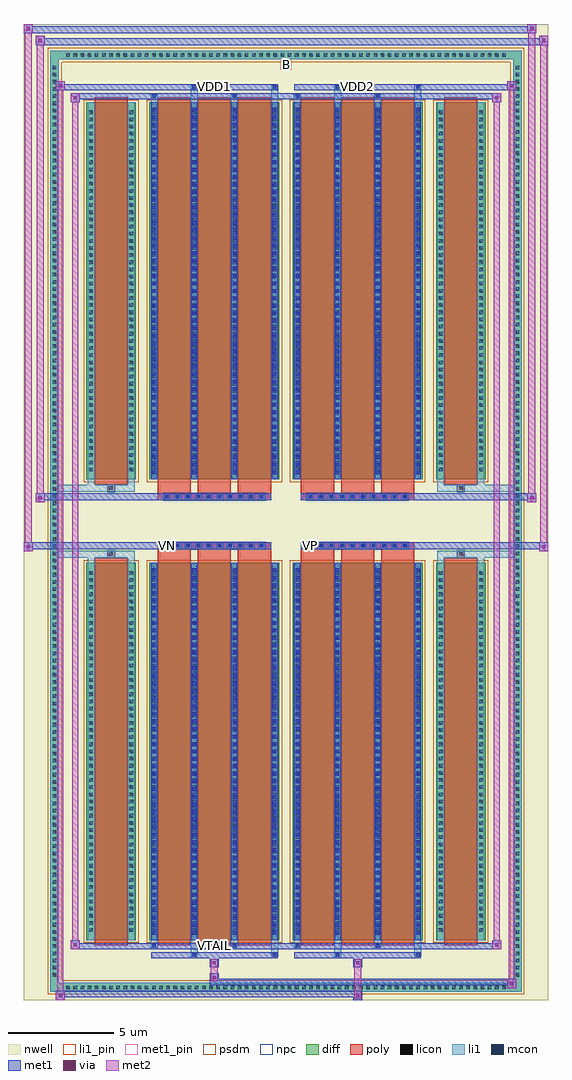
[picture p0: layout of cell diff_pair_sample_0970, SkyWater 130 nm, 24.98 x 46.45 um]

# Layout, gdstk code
import gdstk
lib = gdstk.Library(unit=1e-6, precision=5e-09)
def R(c, l, rs):  # rectangles x0, y0, x1, y1
    for r in rs: c.add(gdstk.rectangle(r[:2], r[2:], *l))
def A(c, l, x, y, w, h, nx, ny, dx, dy):  # array of equal rectangles
    R(c, l, [(x+i*dx, y+j*dy, x+i*dx+w, y+j*dy+h) for i in range(nx) for j in range(ny)])
def P(c, l, *ps):  # polygons
    for p in ps: c.add(gdstk.Polygon(p, *l))
nwell = (64, 20)
diff = (65, 20)
poly = (66, 20)
licon = (66, 44)
li1_pin = (67, 16)
li1 = (67, 20)
mcon = (67, 44)
met1_pin = (68, 16)
met1 = (68, 20)
via = (68, 44)
met2 = (69, 20)
psdm = (94, 20)
npc = (95, 20)

diff_pair_sample_0970 = lib.new_cell('diff_pair_sample_0970')
R(diff_pair_sample_0970, nwell, [(-12.49,-22.79,12.49,23.66), (-9.81,-20.98,-0.01,-0.8), (0.01,-20.98,9.81,-0.8), (-9.81,0.8,-0.01,20.98), (0.01,0.8,9.81,20.98)])
A(diff_pair_sample_0970, diff, -10.575, -22.39, 0.41, 0.41, 62, 2, 0.34, 44.37)
A(diff_pair_sample_0970, diff, -11.22, -21.795, 0.41, 0.41, 1, 128, 0, 0.34)
A(diff_pair_sample_0970, diff, 10.81, -21.795, 0.41, 0.41, 1, 128, 0, 0.34)
R(diff_pair_sample_0970, diff, [(-10.575,-22.39,10.575,-21.98), (-11.22,-21.795,-10.81,21.795), (10.81,-21.795,11.22,21.795), (-9.5,-19.935,-7.14,-1.985), (-6.5,-19.935,-0.32,-1.985), (0.32,-19.935,6.5,-1.985), (7.14,-19.935,9.5,-1.985), (-9.5,1.985,-7.14,19.935), (-6.5,1.985,-0.32,19.935), (0.32,1.985,6.5,19.935), (7.14,1.985,9.5,19.935), (-10.575,21.98,10.575,22.39)])
P(diff_pair_sample_0970, diff, [(11.22,22.39),(-11.22,22.39),(-11.22,-21.98),(-10.81,-21.98),(-10.81,21.98),(10.81,21.98),(10.81,-21.98),(-10.81,-21.98),(-11.22,-21.98),(-11.22,-22.39),(11.22,-22.39)])
A(diff_pair_sample_0970, poly, -6.11, -20.185, 1.58, 18.45, 3, 2, 1.91, 21.92)
A(diff_pair_sample_0970, poly, 0.71, -20.185, 1.58, 18.45, 3, 2, 1.91, 21.92)
A(diff_pair_sample_0970, poly, -6.11, -1.735, 1.58, 0.405, 3, 2, 1.91, 3.065)
A(diff_pair_sample_0970, poly, 0.71, -1.735, 1.58, 0.405, 3, 2, 1.91, 3.065)
A(diff_pair_sample_0970, poly, -5.825, -1.33, 0.33, 0.33, 10, 2, 0.5, 2.33)
A(diff_pair_sample_0970, poly, 0.995, -1.33, 0.33, 0.33, 10, 2, 0.5, 2.33)
R(diff_pair_sample_0970, poly, [(-9.11,-20.185,-7.53,-1.735), (7.53,-20.185,9.11,-1.735), (-8.485,-1.735,-8.155,-1.405), (-8.485,-1.735,-8.155,-1.405), (8.155,-1.735,8.485,-1.405), (8.155,-1.735,8.485,-1.405), (-6.11,-1.33,-0.71,-1), (0.71,-1.33,6.11,-1), (-6.11,1,-0.71,1.33), (0.71,1,6.11,1.33), (-8.485,1.405,-8.155,1.735), (-8.485,1.405,-8.155,1.735), (8.155,1.405,8.485,1.735), (8.155,1.405,8.485,1.735), (-9.11,1.735,-7.53,20.185), (7.53,1.735,9.11,20.185)])
A(diff_pair_sample_0970, licon, -10.455, -22.27, 0.17, 0.17, 62, 2, 0.34, 44.37)
A(diff_pair_sample_0970, licon, -11.1, -21.675, 0.17, 0.17, 1, 128, 0, 0.34)
A(diff_pair_sample_0970, licon, 10.93, -21.675, 0.17, 0.17, 1, 128, 0, 0.34)
A(diff_pair_sample_0970, licon, -9.36, -19.545, 0.17, 0.17, 1, 51, 0, 0.34)
A(diff_pair_sample_0970, licon, -7.45, -19.545, 0.17, 0.17, 1, 51, 0, 0.34)
A(diff_pair_sample_0970, licon, -6.36, -19.545, 0.17, 0.17, 4, 51, 1.91, 0.34)
A(diff_pair_sample_0970, licon, 0.46, -19.545, 0.17, 0.17, 4, 51, 1.91, 0.34)
A(diff_pair_sample_0970, licon, 7.28, -19.545, 0.17, 0.17, 1, 51, 0, 0.34)
A(diff_pair_sample_0970, licon, 9.19, -19.545, 0.17, 0.17, 1, 51, 0, 0.34)
A(diff_pair_sample_0970, licon, -5.745, -1.25, 0.17, 0.17, 10, 2, 0.5, 2.33)
A(diff_pair_sample_0970, licon, 1.075, -1.25, 0.17, 0.17, 10, 2, 0.5, 2.33)
A(diff_pair_sample_0970, licon, -9.36, 2.375, 0.17, 0.17, 1, 51, 0, 0.34)
A(diff_pair_sample_0970, licon, -7.45, 2.375, 0.17, 0.17, 1, 51, 0, 0.34)
A(diff_pair_sample_0970, licon, -6.36, 2.375, 0.17, 0.17, 4, 51, 1.91, 0.34)
A(diff_pair_sample_0970, licon, 0.46, 2.375, 0.17, 0.17, 4, 51, 1.91, 0.34)
A(diff_pair_sample_0970, licon, 7.28, 2.375, 0.17, 0.17, 1, 51, 0, 0.34)
A(diff_pair_sample_0970, licon, 9.19, 2.375, 0.17, 0.17, 1, 51, 0, 0.34)
R(diff_pair_sample_0970, licon, [(-8.405,-1.655,-8.235,-1.485), (8.235,-1.655,8.405,-1.485), (-8.405,1.485,-8.235,1.655), (8.235,1.485,8.405,1.655)])
R(diff_pair_sample_0970, li1_pin, [(-0.25,21.48,0.25,21.98)])
A(diff_pair_sample_0970, li1, -10.535, -22.35, 0.33, 0.33, 62, 2, 0.34, 44.37)
A(diff_pair_sample_0970, li1, -11.18, -21.755, 0.33, 0.33, 1, 128, 0, 0.34)
A(diff_pair_sample_0970, li1, 10.85, -21.755, 0.33, 0.33, 1, 128, 0, 0.34)
A(diff_pair_sample_0970, li1, -6.44, -19.935, 0.33, 17.95, 4, 2, 1.91, 21.92)
A(diff_pair_sample_0970, li1, 0.38, -19.935, 0.33, 17.95, 4, 2, 1.91, 21.92)
A(diff_pair_sample_0970, li1, -6.36, -19.685, 0.17, 0.17, 4, 49, 1.91, 0.36)
A(diff_pair_sample_0970, li1, -6.36, -19.685, 0.17, 17.45, 4, 2, 1.91, 21.92)
A(diff_pair_sample_0970, li1, 0.46, -19.685, 0.17, 0.17, 4, 49, 1.91, 0.36)
A(diff_pair_sample_0970, li1, 0.46, -19.685, 0.17, 17.45, 4, 2, 1.91, 21.92)
A(diff_pair_sample_0970, li1, -9.44, -19.625, 0.33, 0.33, 1, 51, 0, 0.34)
A(diff_pair_sample_0970, li1, -7.53, -19.625, 0.33, 0.33, 1, 51, 0, 0.34)
A(diff_pair_sample_0970, li1, -6.44, -19.625, 0.33, 0.33, 4, 51, 1.91, 0.34)
A(diff_pair_sample_0970, li1, 0.38, -19.625, 0.33, 0.33, 4, 51, 1.91, 0.34)
A(diff_pair_sample_0970, li1, 7.2, -19.625, 0.33, 0.33, 1, 51, 0, 0.34)
A(diff_pair_sample_0970, li1, 9.11, -19.625, 0.33, 0.33, 1, 51, 0, 0.34)
A(diff_pair_sample_0970, li1, -5.825, -1.33, 0.33, 0.33, 10, 2, 0.5, 2.33)
A(diff_pair_sample_0970, li1, 0.995, -1.33, 0.33, 0.33, 10, 2, 0.5, 2.33)
A(diff_pair_sample_0970, li1, -6.36, 2.235, 0.17, 0.17, 4, 49, 1.91, 0.36)
A(diff_pair_sample_0970, li1, 0.46, 2.235, 0.17, 0.17, 4, 49, 1.91, 0.36)
A(diff_pair_sample_0970, li1, -9.44, 2.295, 0.33, 0.33, 1, 51, 0, 0.34)
A(diff_pair_sample_0970, li1, -7.53, 2.295, 0.33, 0.33, 1, 51, 0, 0.34)
A(diff_pair_sample_0970, li1, -6.44, 2.295, 0.33, 0.33, 4, 51, 1.91, 0.34)
A(diff_pair_sample_0970, li1, 0.38, 2.295, 0.33, 0.33, 4, 51, 1.91, 0.34)
A(diff_pair_sample_0970, li1, 7.2, 2.295, 0.33, 0.33, 1, 51, 0, 0.34)
A(diff_pair_sample_0970, li1, 9.11, 2.295, 0.33, 0.33, 1, 51, 0, 0.34)
R(diff_pair_sample_0970, li1, [(-11.22,-22.39,-10.81,-21.98), (-11.22,-22.39,-10.81,-21.98), (-10.81,-22.39,10.81,-21.98), (10.81,-22.39,11.22,-21.98), (10.81,-22.39,11.22,-21.98), (-11.22,-21.98,-10.81,21.98), (10.81,-21.98,11.22,21.98), (-4.53,-20.74,-4.2,-19.935), (-4.45,-20.74,-4.28,-20.57), (-0.71,-20.74,-0.38,-19.935), (-0.63,-20.74,-0.46,-20.57), (2.29,-20.74,2.62,-19.935), (2.37,-20.74,2.54,-20.57), (6.11,-20.74,6.44,-19.935), (6.19,-20.74,6.36,-20.57), (-6.44,-20.31,-6.11,-19.935), (-6.36,-20.31,-6.19,-20.14), (-2.62,-20.31,-2.29,-19.935), (-2.54,-20.31,-2.37,-20.14), (0.38,-20.31,0.71,-19.935), (0.46,-20.31,0.63,-20.14), (4.2,-20.31,4.53,-19.935), (4.28,-20.31,4.45,-20.14), (-9.44,-19.935,-9.11,-1.985), (-7.53,-19.935,-7.2,-1.985), (7.2,-19.935,7.53,-1.985), (9.11,-19.935,9.44,-1.985), (-9.44,-1.985,-9.11,-1.405), (-7.53,-1.985,-7.2,-1.405), (7.2,-1.985,7.53,-1.405), (9.11,-1.985,9.44,-1.405), (-11.22,-1.735,-8.485,-1.405), (-9.44,-1.735,-8.485,-1.405), (-8.485,-1.735,-8.155,-1.405), (-8.155,-1.735,-7.2,-1.405), (7.2,-1.735,8.155,-1.405), (8.155,-1.735,8.485,-1.405), (8.155,-1.735,11.22,-1.405), (8.485,-1.735,9.44,-1.405), (-11.22,1.405,-8.485,1.735), (-9.44,1.405,-8.485,1.735), (-9.44,1.405,-9.11,1.985), (-8.485,1.405,-8.155,1.735), (-8.155,1.405,-7.2,1.735), (-7.53,1.405,-7.2,1.985), (7.2,1.405,8.155,1.735), (7.2,1.405,7.53,1.985), (8.155,1.405,8.485,1.735), (8.155,1.405,11.22,1.735), (8.485,1.405,9.44,1.735), (9.11,1.405,9.44,1.985), (-9.44,1.985,-9.11,19.935), (-7.53,1.985,-7.2,19.935), (7.2,1.985,7.53,19.935), (9.11,1.985,9.44,19.935), (-6.44,19.935,-6.11,20.31), (-4.53,19.935,-4.2,20.74), (-2.62,19.935,-2.29,20.31), (-0.71,19.935,-0.38,20.74), (0.38,19.935,0.71,20.31), (2.29,19.935,2.62,20.74), (4.2,19.935,4.53,20.31), (6.11,19.935,6.44,20.74), (-6.36,20.14,-6.19,20.31), (-2.54,20.14,-2.37,20.31), (0.46,20.14,0.63,20.31), (4.28,20.14,4.45,20.31), (-4.45,20.57,-4.28,20.74), (-0.63,20.57,-0.46,20.74), (2.37,20.57,2.54,20.74), (6.19,20.57,6.36,20.74), (-11.22,21.98,-10.81,22.39), (-11.22,21.98,-10.81,22.39), (-10.81,21.98,10.81,22.39), (10.81,21.98,11.22,22.39), (10.81,21.98,11.22,22.39)])
A(diff_pair_sample_0970, mcon, -6.36, -19.685, 0.17, 0.17, 4, 49, 1.91, 0.36)
A(diff_pair_sample_0970, mcon, 0.46, -19.685, 0.17, 0.17, 4, 49, 1.91, 0.36)
A(diff_pair_sample_0970, mcon, -5.745, -1.25, 0.17, 0.17, 10, 2, 0.5, 2.33)
A(diff_pair_sample_0970, mcon, 1.075, -1.25, 0.17, 0.17, 10, 2, 0.5, 2.33)
A(diff_pair_sample_0970, mcon, -6.36, 2.235, 0.17, 0.17, 4, 49, 1.91, 0.36)
A(diff_pair_sample_0970, mcon, 0.46, 2.235, 0.17, 0.17, 4, 49, 1.91, 0.36)
R(diff_pair_sample_0970, mcon, [(-4.45,-20.74,-4.28,-20.57), (-0.63,-20.74,-0.46,-20.57), (2.37,-20.74,2.54,-20.57), (6.19,-20.74,6.36,-20.57), (-6.36,-20.31,-6.19,-20.14), (-2.54,-20.31,-2.37,-20.14), (0.46,-20.31,0.63,-20.14), (4.28,-20.31,4.45,-20.14), (-6.36,20.14,-6.19,20.31), (-2.54,20.14,-2.37,20.31), (0.46,20.14,0.63,20.31), (4.28,20.14,4.45,20.31), (-4.45,20.57,-4.28,20.74), (-0.63,20.57,-0.46,20.74), (2.37,20.57,2.54,20.74), (6.19,20.57,6.36,20.74)])
R(diff_pair_sample_0970, met1_pin, [(-3.545,-20.35,-3.275,-20.08), (-5.795,-1.29,-5.525,-1.02), (1.025,-1.29,1.295,-1.02), (-3.545,20.53,-3.275,20.8), (3.275,20.53,3.545,20.8)])
A(diff_pair_sample_0970, met1, -6.42, -19.935, 0.29, 17.95, 4, 2, 1.91, 21.92)
A(diff_pair_sample_0970, met1, 0.4, -19.935, 0.29, 17.95, 4, 2, 1.91, 21.92)
A(diff_pair_sample_0970, met1, -6.42, -19.745, 0.29, 0.29, 4, 49, 1.91, 0.36)
A(diff_pair_sample_0970, met1, 0.4, -19.745, 0.29, 0.29, 4, 49, 1.91, 0.36)
A(diff_pair_sample_0970, met1, -5.805, -1.31, 0.29, 0.29, 10, 2, 0.5, 2.33)
A(diff_pair_sample_0970, met1, 1.015, -1.31, 0.29, 0.29, 10, 2, 0.5, 2.33)
A(diff_pair_sample_0970, met1, -6.42, 2.175, 0.29, 0.29, 4, 49, 1.91, 0.36)
A(diff_pair_sample_0970, met1, 0.4, 2.175, 0.29, 0.29, 4, 49, 1.91, 0.36)
R(diff_pair_sample_0970, met1, [(-10.95,-22.79,-10.52,-22.36), (3.195,-22.79,3.625,-22.36), (-10.95,-22.65,3.625,-22.36), (10.52,-22.22,10.95,-21.79), (-3.625,-22.08,10.95,-21.79), (-3.625,-21.94,-3.195,-21.51), (-3.625,-21.23,-3.195,-20.8), (3.195,-21.23,3.625,-20.8), (-6.42,-20.8,-0.4,-20.51), (-4.51,-20.8,-4.22,-20.51), (-0.69,-20.8,-0.4,-20.51), (0.4,-20.8,6.42,-20.51), (2.31,-20.8,2.6,-20.51), (6.13,-20.8,6.42,-20.51), (-10.24,-20.37,-9.81,-19.94), (-10.24,-20.37,-6.42,-20.08), (-6.42,-20.37,-6.13,-20.08), (-6.42,-20.37,-0.4,-20.08), (-2.6,-20.37,-2.31,-20.08), (-0.4,-20.37,0.4,-20.08), (0.4,-20.37,0.69,-20.08), (0.4,-20.37,6.42,-20.08), (4.22,-20.37,4.51,-20.08), (6.42,-20.37,10.24,-20.08), (9.81,-20.37,10.24,-19.94), (-12.49,-1.43,-12.06,-1), (12.06,-1.43,12.49,-1), (-12.49,-1.33,-0.71,-1), (-6.11,-1.33,-0.71,-1), (0.71,-1.33,6.11,-1), (0.71,-1.33,12.49,-1), (-11.92,0.9,-11.49,1.33), (11.49,0.9,11.92,1.33), (-11.92,1,-6.11,1.33), (-6.11,1,-0.71,1.33), (0.71,1,6.11,1.33), (6.11,1,11.92,1.33), (-10.24,19.94,-9.81,20.37), (9.81,19.94,10.24,20.37), (-10.24,20.08,-6.42,20.37), (-6.42,20.08,-6.13,20.37), (-6.42,20.08,-0.4,20.37), (-2.6,20.08,-2.31,20.37), (-0.4,20.08,0.4,20.37), (0.4,20.08,0.69,20.37), (0.4,20.08,6.42,20.37), (4.22,20.08,4.51,20.37), (6.42,20.08,10.24,20.37), (-10.95,20.51,-10.52,20.94), (-10.95,20.51,-6.42,20.8), (-6.42,20.51,-0.4,20.8), (-4.51,20.51,-4.22,20.8), (-0.69,20.51,-0.4,20.8), (0.4,20.51,6.42,20.8), (2.31,20.51,2.6,20.8), (6.13,20.51,6.42,20.8), (6.42,20.51,10.95,20.8), (10.52,20.51,10.95,20.94), (-11.92,22.66,-11.49,23.09), (-11.92,22.66,-9.81,22.99), (-9.81,22.66,9.81,22.99), (9.81,22.66,12.49,22.99), (12.06,22.66,12.49,23.09), (-12.49,23.23,-12.06,23.66), (-12.49,23.23,-9.81,23.56), (-9.81,23.23,9.81,23.56), (9.81,23.23,11.92,23.56), (11.49,23.23,11.92,23.66)])
R(diff_pair_sample_0970, via, [(-10.81,-22.65,-10.66,-22.5), (3.335,-22.65,3.485,-22.5), (10.66,-22.08,10.81,-21.93), (-3.485,-21.8,-3.335,-21.65), (-3.485,-21.09,-3.335,-20.94), (3.335,-21.09,3.485,-20.94), (-10.1,-20.23,-9.95,-20.08), (9.95,-20.23,10.1,-20.08), (-12.35,-1.29,-12.2,-1.14), (12.2,-1.29,12.35,-1.14), (-11.78,1.04,-11.63,1.19), (11.63,1.04,11.78,1.19), (-10.1,20.08,-9.95,20.23), (9.95,20.08,10.1,20.23), (-10.81,20.65,-10.66,20.8), (10.66,20.65,10.81,20.8), (-11.78,22.8,-11.63,22.95), (12.2,22.8,12.35,22.95), (-12.35,23.37,-12.2,23.52), (11.63,23.37,11.78,23.52)])
R(diff_pair_sample_0970, met2, [(-10.95,-22.79,-10.52,-22.36), (-10.88,-22.79,-10.59,20.94), (-10.59,-22.79,-10.52,-22.36), (-10.9,-22.74,-10.57,-22.41), (3.245,-22.74,3.575,-22.41), (3.245,-22.41,3.575,-21.18), (10.52,-22.22,10.95,-21.79), (10.59,-22.22,10.88,20.94), (10.88,-22.22,10.95,-21.79), (10.57,-22.17,10.9,-21.84), (-3.575,-21.89,-3.245,-21.56), (-3.575,-21.56,-3.245,-21.18), (-3.575,-21.18,-3.245,-20.85), (3.245,-21.18,3.575,-20.85), (-10.24,-20.37,-9.81,-19.94), (-10.17,-20.37,-9.88,20.37), (-9.88,-20.37,-9.81,-19.94), (9.81,-20.37,10.24,-19.94), (9.88,-20.37,10.17,20.37), (10.17,-20.37,10.24,-19.94), (-10.19,-20.32,-9.86,-19.99), (9.86,-20.32,10.19,-19.99), (-12.49,-1.43,-12.06,-1), (-12.44,-1.43,-12.11,23.66), (-12.11,-1.43,-12.06,-1), (12.06,-1.43,12.49,-1), (12.11,-1.43,12.44,23.09), (12.44,-1.43,12.49,-1), (-12.44,-1.38,-12.11,-1.05), (12.11,-1.38,12.44,-1.05), (-11.92,0.9,-11.49,1.33), (-11.87,0.9,-11.54,23.09), (-11.54,0.9,-11.49,1.33), (11.49,0.9,11.92,1.33), (11.54,0.9,11.87,23.66), (11.87,0.9,11.92,1.33), (-11.87,0.95,-11.54,1.28), (11.54,0.95,11.87,1.28), (-10.24,19.94,-9.81,20.37), (-9.88,19.94,-9.81,20.37), (9.81,19.94,10.24,20.37), (10.17,19.94,10.24,20.37), (-10.19,19.99,-9.86,20.32), (9.86,19.99,10.19,20.32), (-10.95,20.51,-10.52,20.94), (-10.59,20.51,-10.52,20.94), (10.52,20.51,10.95,20.94), (10.88,20.51,10.95,20.94), (-10.9,20.56,-10.57,20.89), (10.57,20.56,10.9,20.89), (-11.92,22.66,-11.49,23.09), (-11.54,22.66,-11.49,23.09), (12.06,22.66,12.49,23.09), (12.44,22.66,12.49,23.09), (-11.87,22.71,-11.54,23.04), (12.11,22.71,12.44,23.04), (-12.49,23.23,-12.06,23.66), (-12.11,23.23,-12.06,23.66), (11.49,23.23,11.92,23.66), (11.87,23.23,11.92,23.66), (-12.44,23.28,-12.11,23.61), (11.54,23.28,11.87,23.61)])
R(diff_pair_sample_0970, psdm, [(-9.63,-20.065,-7.01,-1.855), (-6.63,-20.065,-0.19,-1.855), (0.19,-20.065,6.63,-1.855), (7.01,-20.065,9.63,-1.855), (-9.63,1.855,-7.01,20.065), (-6.63,1.855,-0.19,20.065), (0.19,1.855,6.63,20.065), (7.01,1.855,9.63,20.065)])
P(diff_pair_sample_0970, psdm, [(11.35,22.52),(-11.35,22.52),(-11.35,-21.85),(-10.68,-21.85),(-10.68,21.85),(10.68,21.85),(10.68,-21.85),(-10.68,-21.85),(-11.35,-21.85),(-11.35,-22.52),(11.35,-22.52)])
A(diff_pair_sample_0970, npc, -5.845, -1.35, 0.37, 0.37, 10, 2, 0.5, 2.33)
A(diff_pair_sample_0970, npc, 0.975, -1.35, 0.37, 0.37, 10, 2, 0.5, 2.33)
R(diff_pair_sample_0970, npc, [(-8.505,-1.755,-8.135,-1.385), (8.135,-1.755,8.505,-1.385), (-5.845,-1.35,-4.975,-0.98), (-5.845,-1.35,-4.975,-0.98), (-5.345,-1.35,-4.475,-0.98), (-5.345,-1.35,-4.475,-0.98), (-4.845,-1.35,-3.975,-0.98), (-4.845,-1.35,-3.975,-0.98), (-4.345,-1.35,-3.475,-0.98), (-4.345,-1.35,-3.475,-0.98), (-3.845,-1.35,-2.975,-0.98), (-3.845,-1.35,-2.975,-0.98), (-3.345,-1.35,-2.475,-0.98), (-3.345,-1.35,-2.475,-0.98), (-2.845,-1.35,-1.975,-0.98), (-2.845,-1.35,-1.975,-0.98), (-2.345,-1.35,-1.475,-0.98), (-2.345,-1.35,-1.475,-0.98), (-1.845,-1.35,-0.975,-0.98), (-1.845,-1.35,-0.975,-0.98), (0.975,-1.35,1.845,-0.98), (0.975,-1.35,1.845,-0.98), (1.475,-1.35,2.345,-0.98), (1.475,-1.35,2.345,-0.98), (1.975,-1.35,2.845,-0.98), (1.975,-1.35,2.845,-0.98), (2.475,-1.35,3.345,-0.98), (2.475,-1.35,3.345,-0.98), (2.975,-1.35,3.845,-0.98), (2.975,-1.35,3.845,-0.98), (3.475,-1.35,4.345,-0.98), (3.475,-1.35,4.345,-0.98), (3.975,-1.35,4.845,-0.98), (3.975,-1.35,4.845,-0.98), (4.475,-1.35,5.345,-0.98), (4.475,-1.35,5.345,-0.98), (4.975,-1.35,5.845,-0.98), (4.975,-1.35,5.845,-0.98), (-5.845,0.98,-4.975,1.35), (-5.845,0.98,-4.975,1.35), (-5.345,0.98,-4.475,1.35), (-5.345,0.98,-4.475,1.35), (-4.845,0.98,-3.975,1.35), (-4.845,0.98,-3.975,1.35), (-4.345,0.98,-3.475,1.35), (-4.345,0.98,-3.475,1.35), (-3.845,0.98,-2.975,1.35), (-3.845,0.98,-2.975,1.35), (-3.345,0.98,-2.475,1.35), (-3.345,0.98,-2.475,1.35), (-2.845,0.98,-1.975,1.35), (-2.845,0.98,-1.975,1.35), (-2.345,0.98,-1.475,1.35), (-2.345,0.98,-1.475,1.35), (-1.845,0.98,-0.975,1.35), (-1.845,0.98,-0.975,1.35), (0.975,0.98,1.845,1.35), (0.975,0.98,1.845,1.35), (1.475,0.98,2.345,1.35), (1.475,0.98,2.345,1.35), (1.975,0.98,2.845,1.35), (1.975,0.98,2.845,1.35), (2.475,0.98,3.345,1.35), (2.475,0.98,3.345,1.35), (2.975,0.98,3.845,1.35), (2.975,0.98,3.845,1.35), (3.475,0.98,4.345,1.35), (3.475,0.98,4.345,1.35), (3.975,0.98,4.845,1.35), (3.975,0.98,4.845,1.35), (4.475,0.98,5.345,1.35), (4.475,0.98,5.345,1.35), (4.975,0.98,5.845,1.35), (4.975,0.98,5.845,1.35), (-8.505,1.385,-8.135,1.755), (8.135,1.385,8.505,1.755)])
diff_pair_sample_0970.add(gdstk.Label('VTAIL', (-3.41,-20.215), layer=68, texttype=5))
diff_pair_sample_0970.add(gdstk.Label('VN', (-5.66,-1.155), layer=68, texttype=5))
diff_pair_sample_0970.add(gdstk.Label('VP', (1.16,-1.155), layer=68, texttype=5))
diff_pair_sample_0970.add(gdstk.Label('B', (0,21.73), layer=67, texttype=5))
diff_pair_sample_0970.add(gdstk.Label('VDD2', (3.41,20.665), layer=68, texttype=5))
diff_pair_sample_0970.add(gdstk.Label('VDD1', (-3.41,20.665), layer=68, texttype=5))

lib.write_gds('diff_pair_sample_0970.gds')
